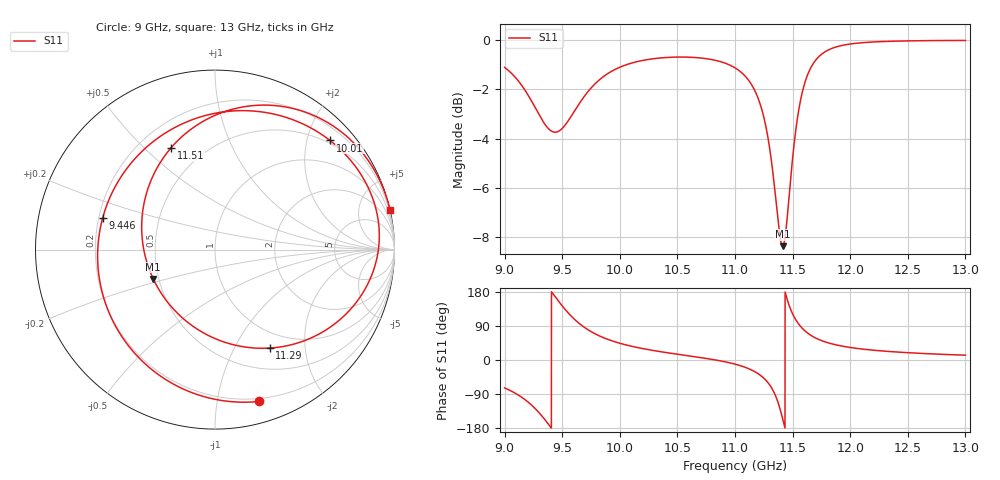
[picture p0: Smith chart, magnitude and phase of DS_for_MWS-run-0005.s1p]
! TOUCHSTONE file generated by CST DESIGN STUDIO
! Date and time: Tue Feb  4 16:47:12 2025
! Project name: C:\Work\MatlabApps\UnitCellOptimizationMatlab\CST\unitcell.cst
! Tree item: Tasks\Sweep1\SPara1\S-Parameters
! Header version: 2024
! Port assignment regex: !\s*Touchstone port\s*([0-9]+)\s*=\s*(CST MWS port|CST DES external port|CST DES block port)\s*(.+)\s* \(\"(.*)\"\)(\s*mode\s*([0-9]+))?.*
! Touchstone port assignment:
! Touchstone port 1 = CST DES external port 1 ("")
# GHz S MA R 50
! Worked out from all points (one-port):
!   4001 points, 9 GHz to 13 GHz, reference 50 ohm
!   lowest |S11| = -8.4 dB at 11.41 GHz (marker M1), VSWR 2.23, Z = 23.3 - j8.94 ohm
!   |S11| at or under -10 dB: nowhere
!   S11 on the Smith chart (normalised r, x): 9 GHz: 0.17, -1.32; 9.446 GHz: 0.22, +0.13; 10.01 GHz: 0.44, +2.44; 11.29 GHz: 0.77, -1.40; 11.51 GHz: 0.33, +0.61; 13 GHz: 0.01, +8.98
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9  0.8811 -73.8
9.127  0.8224 -94.0
9.228  0.7565 -117.4
9.348  0.6756 -156.7
9.446  0.6502 164.1
9.5  0.6617 142.8
9.59  0.7078 112.2
9.688  0.7669 87.1
9.835  0.8358 62.0
10  0.8817 44.2
10.008  0.8833 43.5
10.221  0.9123 28.8
10.5  0.9248 15.3
11  0.8792 -10.9
11.17  0.7919 -30.5
11.233  0.7226 -43.4
11.289  0.6279 -60.9
11.354  0.4751 -95.8
11.413  0.3809 -154.5
11.455  0.4397 157.9
11.5  0.5752 121.7
11.514  0.6177 113.3
11.593  0.7993 80.9
11.714  0.9195 56.0
11.835  0.9619 43.1
12  0.9832 33.0
12.5  0.9976 19.3
13  0.9997 12.7
